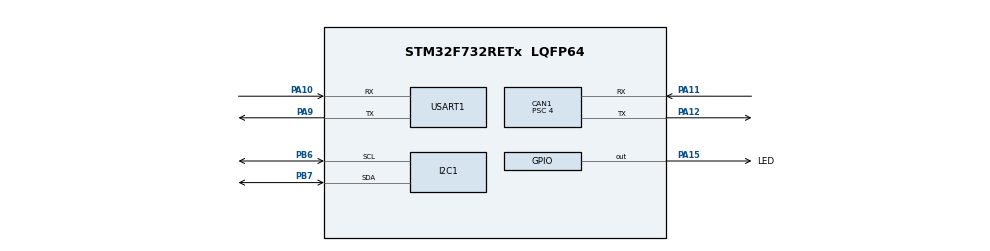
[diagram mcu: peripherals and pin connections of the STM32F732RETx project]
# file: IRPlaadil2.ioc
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CAN1.BS1=CAN_BS1_6TQ
CAN1.CalculateTimeQuantum=250.0
CAN1.Prescaler=4
Mcu.Family=STM32F7
Mcu.Name=STM32F732RETx
Mcu.Package=LQFP64
NVIC.CAN1_RX0_IRQn=true\:0\:0\:false\:false\:true\:true
NVIC.CAN1_RX1_IRQn=true\:0\:0\:false\:false\:true\:true
NVIC.CAN1_SCE_IRQn=true\:0\:0\:false\:false\:true\:true
NVIC.CAN1_TX_IRQn=true\:0\:0\:false\:false\:true\:true
NVIC.I2C1_EV_IRQn=true\:0\:0\:false\:false\:true\:true
NVIC.PriorityGroup=NVIC_PRIORITYGROUP_4
PA10.Mode=Asynchronous
PA10.Signal=USART1_RX
PA11.Mode=Master
PA11.Signal=CAN1_RX
PA12.Mode=Master
PA12.Signal=CAN1_TX
PA15.GPIO_Label=LED
PA15.Signal=GPIO_Output
PA9.Mode=Asynchronous
PA9.Signal=USART1_TX
PB6.Mode=I2C
PB6.Signal=I2C1_SCL
PB7.Mode=I2C
PB7.Signal=I2C1_SDA
ProjectManager.HeapSize=0x200
ProjectManager.StackSize=0x400
ProjectManager.TargetToolchain=TrueSTUDIO
RCC.HSE_VALUE=25000000
RCC.HSI_VALUE=16000000
RCC.LSE_VALUE=32768
RCC.USBFreq_Value=96000000
RCC.VCOOutputFreq_Value=192000000
USART1.SwapParam=ADVFEATURE_SWAP_DISABLE
USART1.VirtualMode-Asynchronous=VM_ASYNC
USART1.WordLength=WORDLENGTH_8B
VP_WWDG_VS_WWDG.Mode=WWDG_Activate
WWDG.Counter=127
WWDG.Window=80
board=IRPlaadil

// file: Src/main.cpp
/**
  ******************************************************************************
  * @file           : main.c
  * @brief          : Main program body
  ******************************************************************************
  ** This notice applies to any and all portions of this file
  * that are not between comment pairs USER CODE BEGIN and
  * USER CODE END. Other portions of this file, whether
  * inserted by the user or by software development tools
  * are owned by their respective copyright owners.
  *
  * COPYRIGHT(c) 2018 STMicroelectronics
  *
  * Redistribution and use in source and binary forms, with or without modification,
  * are permitted provided that the following conditions are met:
  *   1. Redistributions of source code must retain the above copyright notice,
  *      this list of conditions and the following disclaimer.
  *   2. Redistributions in binary form must reproduce the above copyright notice,
  *      this list of conditions and the following disclaimer in the documentation
  *      and/or other materials provided with the distribution.
  *   3. Neither the name of STMicroelectronics nor the names of its contributors
  *      may be used to endorse or promote products derived from this software
  *      without specific prior written permission.
  *
  * THIS SOFTWARE IS PROVIDED BY THE COPYRIGHT HOLDERS AND CONTRIBUTORS "AS IS"
  * AND ANY EXPRESS OR IMPLIED WARRANTIES, INCLUDING, BUT NOT LIMITED TO, THE
  * IMPLIED WARRANTIES OF MERCHANTABILITY AND FITNESS FOR A PARTICULAR PURPOSE ARE
  * DISCLAIMED. IN NO EVENT SHALL THE COPYRIGHT HOLDER OR CONTRIBUTORS BE LIABLE
  * FOR ANY DIRECT, INDIRECT, INCIDENTAL, SPECIAL, EXEMPLARY, OR CONSEQUENTIAL
  * DAMAGES (INCLUDING, BUT NOT LIMITED TO, PROCUREMENT OF SUBSTITUTE GOODS OR
  * SERVICES; LOSS OF USE, DATA, OR PROFITS; OR BUSINESS INTERRUPTION) HOWEVER
  * CAUSED AND ON ANY THEORY OF LIABILITY, WHETHER IN CONTRACT, STRICT LIABILITY,
  * OR TORT (INCLUDING NEGLIGENCE OR OTHERWISE) ARISING IN ANY WAY OUT OF THE USE
  * OF THIS SOFTWARE, EVEN IF ADVISED OF THE POSSIBILITY OF SUCH DAMAGE.
  *
  ******************************************************************************
  */
#include "main.h"
#include "stm32f7xx_hal.h"
#include "can.h"
#include "i2c.h"
#include "usart.h"
#include "wwdg.h"
#include "gpio.h"

/* USER CODE BEGIN Includes */
#include "IrSensor.hpp"
#include "cmath"
/* USER CODE END Includes */

/* USER CODE BEGIN PV */
/* Private variables ---------------------------------------------------------*/

/* USER CODE END PV */

void SystemClock_Config(void);

/* USER CODE BEGIN PFP */
/* Private function prototypes -----------------------------------------------*/

/* USER CODE END PFP */

int main(void)
{

  /* MCU Configuration----------------------------------------------------------*/

  /* Reset of all peripherals, Initializes the Flash interface and the Systick. */
  HAL_Init();

  /* Configure the system clock */
  SystemClock_Config();

  /* Initialize all configured peripherals */
  MX_GPIO_Init();
  MX_I2C1_Init();
  MX_CAN1_Init();
  MX_USART1_UART_Init();
  MX_WWDG_Init();
  /* USER CODE BEGIN 2 */
  //IR init
  //HAL_Delay(10);

  IrSensor sensor1(0x01); //NB id tuleb eraldi seadistada jubinatel, ükshaaval
  IrSensor sensor2(0x02);
  IrSensor sensor3(0x03);

  IrSensor sensor4(0x04);
  IrSensor sensor5(0x05);
  IrSensor sensor6(0x06);

  //CAN init
  CAN_TxHeaderTypeDef pTxHeader; //outgoing msg header
	  pTxHeader.DLC = 8;
	  pTxHeader.ExtId = 0;
	  pTxHeader.IDE = CAN_ID_STD;
	  pTxHeader.RTR = CAN_RTR_DATA;
	  pTxHeader.StdId = 811;
	  pTxHeader.TransmitGlobalTime = DISABLE;
  uint32_t pTxMailbox;

  CAN_FilterTypeDef canFilter; // PEAB olema enablitud et RX töötaks!
  	  canFilter.FilterIdHigh = 0x0000;
	  canFilter.FilterIdLow = 0x0000;
	  canFilter.FilterMaskIdHigh = 0x0000;
	  canFilter.FilterMaskIdLow = 0x0000;
  	  canFilter.FilterFIFOAssignment = CAN_RX_FIFO0;
  	  canFilter.FilterActivation = ENABLE;
  	  canFilter.FilterBank = 13;
  	  canFilter.FilterMode = CAN_FILTERMODE_IDMASK;
  	  canFilter.FilterScale = CAN_FILTERSCALE_32BIT;
  HAL_CAN_ConfigFilter(&hcan1, &canFilter);

  HAL_CAN_Start(&hcan1);
  HAL_CAN_ActivateNotification(&hcan1, CAN_IT_RX_FIFO0_MSG_PENDING);

  Serial_PutString("\n Init done! ");
  /* USER CODE END 2 */

  /* Infinite loop */
  /* USER CODE BEGIN WHILE */
  while (1)
  {

	  HAL_GPIO_TogglePin(LED_GPIO_Port, LED_Pin);

	  //read temps into temps array
	  float temps[6];
	  temps[0] = sensor1.readTemp();
	  temps[1] = sensor2.readTemp();
	  temps[2] = sensor3.readTemp();

	  temps[3] = sensor4.readTemp();
	  temps[4] = sensor5.readTemp();
	  temps[5] = sensor6.readTemp();

	  //uint8_t *array1;
	  //array1 = reinterpret_cast<uint8_t*>(&temps[0]);
	  //uint8_t *array2;
	  //array2 = reinterpret_cast<uint8_t*>(&temps[1]);
	  //uint8_t *array3;
	  //array3 = reinterpret_cast<uint8_t*>(&temps[2]);

	  //uint8_t data[2];
	  //memcpy(data, &temps[0], 2);

	  //Send temp array to can
	  //dataD prepares temp data to be sent to CAN
	  double dataD[12];
	  dataD[1] = modf(temps[0], &dataD[0]);
	  dataD[3] = modf(temps[1], &dataD[2]);
	  dataD[5] = modf(temps[2], &dataD[4]);

	  dataD[7] = modf(temps[3], &dataD[6]);
	  dataD[9] = modf(temps[4], &dataD[8]);
	  dataD[11] = modf(temps[5], &dataD[10]);
	  uint8_t aData[] = {dataD[0], round(dataD[1]*100), dataD[2], round(dataD[3]*100), dataD[4], round(dataD[5]*100),0,1};
	  	  HAL_CAN_AddTxMessage(&hcan1, &pTxHeader, aData, &pTxMailbox);
	  uint8_t aData1[] = {dataD[6], round(dataD[7]*100), dataD[8], round(dataD[9]*100), dataD[10], round(dataD[11]*100),0,2};
	  	  HAL_CAN_AddTxMessage(&hcan1, &pTxHeader, aData1, &pTxMailbox);

	  temps[0] = sensor1.readAmbient();
	  temps[1] = sensor2.readAmbient();
	  temps[2] = sensor3.readAmbient();

	  dataD[1] = modf(temps[0], &dataD[0]);
	  dataD[3] = modf(temps[1], &dataD[2]);
	  dataD[5] = modf(temps[2], &dataD[4]);
	  uint8_t aData2[] = {dataD[0], round(dataD[1]*100), dataD[2], round(dataD[3]*100), dataD[4], round(dataD[5]*100),0,0};
	  	  HAL_CAN_AddTxMessage(&hcan1, &pTxHeader, aData2, &pTxMailbox);

	  if(setIdFlag == 1){ //set in can.c callback f
		  IrSensor::setSMBaddr((uint8_t)setIdId); //Pärast tuleb restart teha!!
		  setIdFlag = 0;
	  }

	  char s[10];
	  sprintf(s, "%f", temps[0]);
	  Serial_PutString("\nAmbient: ");
	  Serial_PutString(s);

	  //sensor1.readSMBaddr();
	  //HAL_Delay(20);

	  HAL_WWDG_Refresh(&hwwdg); //watchdog kicker
  /* USER CODE END WHILE */

  }

}

void SystemClock_Config(void)
{

  RCC_OscInitTypeDef RCC_OscInitStruct;
  RCC_ClkInitTypeDef RCC_ClkInitStruct;
  RCC_PeriphCLKInitTypeDef PeriphClkInitStruct;

    /**Configure the main internal regulator output voltage
    */
  __HAL_RCC_PWR_CLK_ENABLE();

  __HAL_PWR_VOLTAGESCALING_CONFIG(PWR_REGULATOR_VOLTAGE_SCALE3);

    /**Initializes the CPU, AHB and APB busses clocks
    */
  RCC_OscInitStruct.OscillatorType = RCC_OSCILLATORTYPE_HSI;
  RCC_OscInitStruct.HSIState = RCC_HSI_ON;
  RCC_OscInitStruct.HSICalibrationValue = 16;
  RCC_OscInitStruct.PLL.PLLState = RCC_PLL_NONE;
  if (HAL_RCC_OscConfig(&RCC_OscInitStruct) != HAL_OK)
  {
    _Error_Handler(__FILE__, __LINE__);
  }

    /**Initializes the CPU, AHB and APB busses clocks
    */
  RCC_ClkInitStruct.ClockType = RCC_CLOCKTYPE_HCLK|RCC_CLOCKTYPE_SYSCLK
                              |RCC_CLOCKTYPE_PCLK1|RCC_CLOCKTYPE_PCLK2;
  RCC_ClkInitStruct.SYSCLKSource = RCC_SYSCLKSOURCE_HSI;
  RCC_ClkInitStruct.AHBCLKDivider = RCC_SYSCLK_DIV1;
  RCC_ClkInitStruct.APB1CLKDivider = RCC_HCLK_DIV1;
  RCC_ClkInitStruct.APB2CLKDivider = RCC_HCLK_DIV1;

  if (HAL_RCC_ClockConfig(&RCC_ClkInitStruct, FLASH_LATENCY_0) != HAL_OK)
  {
    _Error_Handler(__FILE__, __LINE__);
  }

  PeriphClkInitStruct.PeriphClockSelection = RCC_PERIPHCLK_USART1|RCC_PERIPHCLK_I2C1;
  PeriphClkInitStruct.Usart1ClockSelection = RCC_USART1CLKSOURCE_PCLK2;
  PeriphClkInitStruct.I2c1ClockSelection = RCC_I2C1CLKSOURCE_PCLK1;
  if (HAL_RCCEx_PeriphCLKConfig(&PeriphClkInitStruct) != HAL_OK)
  {
    _Error_Handler(__FILE__, __LINE__);
  }

    /**Configure the Systick interrupt time
    */
  HAL_SYSTICK_Config(HAL_RCC_GetHCLKFreq()/1000);

    /**Configure the Systick
    */
  HAL_SYSTICK_CLKSourceConfig(SYSTICK_CLKSOURCE_HCLK);

  /* SysTick_IRQn interrupt configuration */
  HAL_NVIC_SetPriority(SysTick_IRQn, 0, 0);
}

void _Error_Handler(char *file, int line)
{
  while(1)
  {
  }
}

/************************ (C) COPYRIGHT STMicroelectronics *****END OF FILE****/
